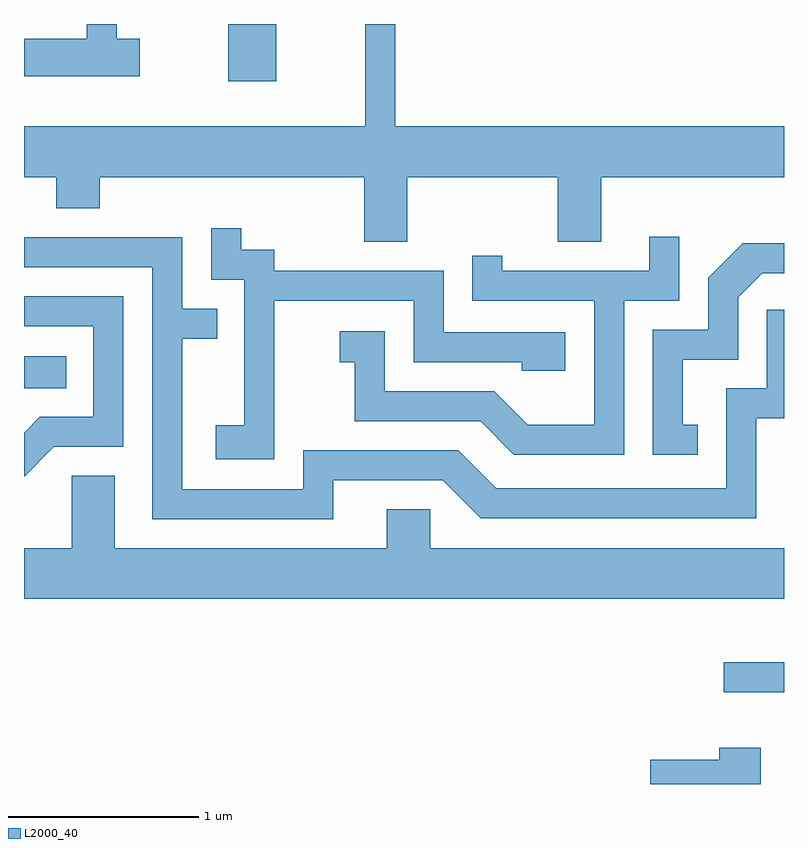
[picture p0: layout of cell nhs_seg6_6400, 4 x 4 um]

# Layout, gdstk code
import gdstk
lib = gdstk.Library(unit=1e-6, precision=1e-09)
def R(c, l, rs):  # rectangles x0, y0, x1, y1
    for r in rs: c.add(gdstk.rectangle(r[:2], r[2:], *l))
def P(c, l, *ps):  # polygons
    for p in ps: c.add(gdstk.Polygon(p, *l))
L2000_40 = (2000, 40)

nhs_seg6_6400 = lib.new_cell('nhs_seg6_6400')
R(nhs_seg6_6400, L2000_40, [(383.293,1560.646,383.611,1560.804), (379.611,1562.246,379.833,1562.414), (380.686,1563.861,380.939,1564.162)])
P(nhs_seg6_6400, L2000_40, [(380.219,1564.084),(380.099,1564.084),(380.099,1564.162),(379.941,1564.162),(379.941,1564.084),(379.611,1564.084),(379.611,1563.886),(380.219,1563.886)],
  [(381.629,1563.356),(382.421,1563.356),(382.421,1563.016),(382.649,1563.016),(382.649,1563.356),(383.611,1563.356),(383.611,1563.624),(381.564,1563.624),(381.564,1564.162),(381.406,1564.162),(381.406,1563.624),(379.611,1563.624),(379.611,1563.356),(379.781,1563.356),(379.781,1563.191),(380.009,1563.191),(380.009,1563.356),(381.401,1563.356),(381.401,1563.016),(381.629,1563.016)],
  [(380.929,1562.706),(381.661,1562.706),(381.661,1562.381),(382.231,1562.381),(382.231,1562.336),(382.459,1562.336),(382.459,1562.539),(381.819,1562.539),(381.819,1562.864),(380.929,1562.864),(380.929,1562.974),(380.754,1562.974),(380.754,1563.088),(380.596,1563.088),(380.596,1562.816),(380.771,1562.816),(380.771,1562.049),(380.621,1562.049),(380.621,1561.871),(380.929,1561.871)],
  [(382.769,1562.706),(383.059,1562.706),(383.059,1563.043),(382.901,1563.043),(382.901,1562.864),(382.129,1562.864),(382.129,1562.943),(381.971,1562.943),(381.971,1562.706),(382.611,1562.706),(382.611,1562.054),(382.262,1562.054),(382.087,1562.229),(381.509,1562.229),(381.509,1562.544),(381.273,1562.544),(381.273,1562.381),(381.351,1562.381),(381.351,1562.071),(382.014,1562.071),(382.189,1561.896),(382.769,1561.896)],
  [(381.239,1561.761),(381.814,1561.761),(382.014,1561.561),(383.464,1561.561),(383.464,1562.086),(383.611,1562.086),(383.611,1562.659),(383.521,1562.659),(383.521,1562.244),(383.306,1562.244),(383.306,1561.719),(382.097,1561.719),(381.897,1561.919),(381.081,1561.919),(381.081,1561.714),(380.444,1561.714),(380.444,1562.506),(380.628,1562.506),(380.628,1562.664),(380.444,1562.664),(380.444,1563.039),(379.611,1563.039),(379.611,1562.881),(380.286,1562.881),(380.286,1561.556),(381.239,1561.556)],
  [(383.158,1562.054),(383.079,1562.054),(383.079,1562.396),(383.369,1562.396),(383.369,1562.724),(383.497,1562.851),(383.611,1562.851),(383.611,1563.009),(383.394,1563.009),(383.211,1562.827),(383.211,1562.554),(382.921,1562.554),(382.921,1561.896),(383.158,1561.896)],
  [(379.767,1561.936),(380.134,1561.936),(380.134,1562.729),(379.611,1562.729),(379.611,1562.571),(379.976,1562.571),(379.976,1562.094),(379.694,1562.094),(379.611,1562.011),(379.611,1561.78)],
  [(383.611,1561.404),(381.749,1561.404),(381.749,1561.609),(381.521,1561.609),(381.521,1561.404),(380.089,1561.404),(380.089,1561.784),(379.861,1561.784),(379.861,1561.404),(379.611,1561.404),(379.611,1561.136),(383.611,1561.136)],
  [(383.489,1560.354),(383.271,1560.354),(383.271,1560.289),(382.906,1560.289),(382.906,1560.162),(383.489,1560.162)])

lib.write_gds('nhs_seg6_6400.gds')
